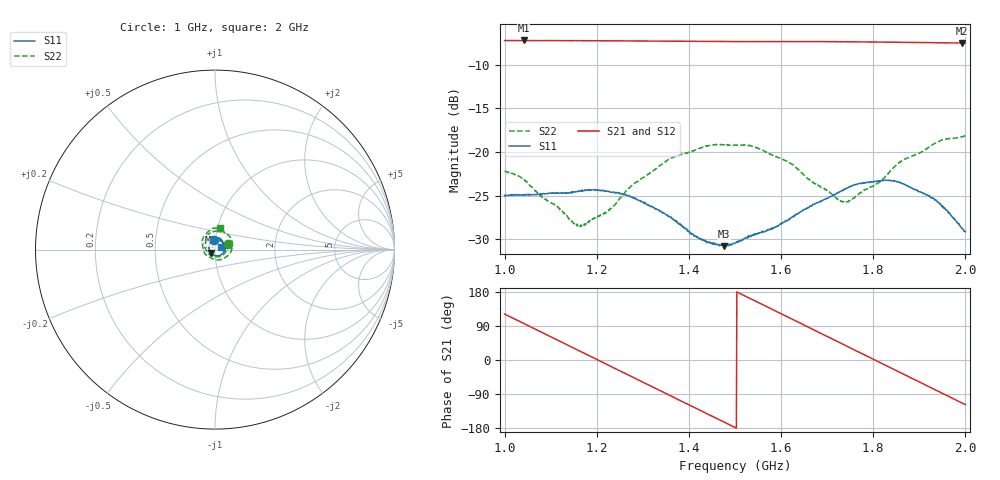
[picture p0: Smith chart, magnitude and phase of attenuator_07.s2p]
#  HZ  S  DB  R  50.00
! Rohde & Schwarz Vector Network Analyzer
! Rohde-Schwarz,ZNB8-4Port,1311601044102961,2.82
! Created: UTC 3/4/2022, 3:51:28 PM
! freq[Hz]  db:S11  ang:S11  db:S21  ang:S21  db:S12  ang:S12  db:S22  ang:S22
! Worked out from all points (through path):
!   1001 points, 1 GHz to 2 GHz, reference 50 ohm
!   highest |S21| = -7.20 dB at 1.041 GHz (marker M1); lowest = -7.5 dB at 1.992 GHz (marker M2)
!   group delay of S21, straight-line fit = 1.66 ns
!   lowest |S11| = -30.8 dB at 1.476 GHz (marker M3), VSWR 1.06, Z = 47.7 - j1.55 ohm
!   |S11| at or under -10 dB: start of sweep to end of sweep
!   |S22| runs from -28.6 to -18.2 dB; largest |S21 - S12| = 0.0016
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1e9  -25.05 94.4  -7.22 121.3  -7.20 121.2  -22.25 24.2
1.041e9  -24.93 81.4  -7.20 96.8  -7.20 96.7  -23.17 1.7
1.1e9  -24.74 65.0  -7.22 61.4  -7.21 61.4  -25.83 -41.5
1.167e9  -24.39 43.6  -7.23 21.2  -7.22 21.3  -28.41 -106.4
1.205e9  -24.41 30.1  -7.24 -1.5  -7.23 -1.5  -27.30 -145.1
1.244e9  -24.66 14.3  -7.25 -24.8  -7.24 -24.9  -25.75 179.1
1.292e9  -25.59 -10.3  -7.26 -53.6  -7.26 -53.6  -23.23 149.9
1.334e9  -26.65 -34.1  -7.28 -78.8  -7.28 -78.8  -21.70 126.1
1.4e9  -29.16 -79.8  -7.31 -118.3  -7.30 -118.3  -20.04 96.1
1.476e9  -30.81 -145.6  -7.33 -163.7  -7.32 -163.7  -19.17 61.8
1.5e9  -30.46 -163.7  -7.34 -178.0  -7.33 -178.0  -19.20 49.7
1.546e9  -29.41 166.5  -7.33 154.5  -7.33 154.5  -19.51 27.8
1.594e9  -28.46 146.9  -7.34 125.8  -7.33 125.7  -20.65 0.6
1.631e9  -27.22 132.7  -7.33 103.6  -7.33 103.6  -21.73 -21.0
1.667e9  -26.15 123.7  -7.33 82.0  -7.34 82.0  -23.45 -48.1
1.741e9  -24.20 99.9  -7.35 37.4  -7.35 37.5  -25.70 -119.2
1.787e9  -23.49 83.7  -7.38 9.8  -7.37 9.8  -24.24 -163.5
1.834e9  -23.26 66.6  -7.39 -18.4  -7.41 -18.4  -22.41 157.5
1.917e9  -24.94 36.6  -7.45 -68.2  -7.44 -68.2  -19.62 113.5
1.955e9  -26.48 27.2  -7.47 -90.9  -7.48 -90.8  -18.54 98.0
1.992e9  -28.74 22.2  -7.50 -113.0  -7.49 -113.0  -18.25 81.4
2e9  -29.16 21.1  -7.49 -117.8  -7.48 -117.8  -18.15 77.5
